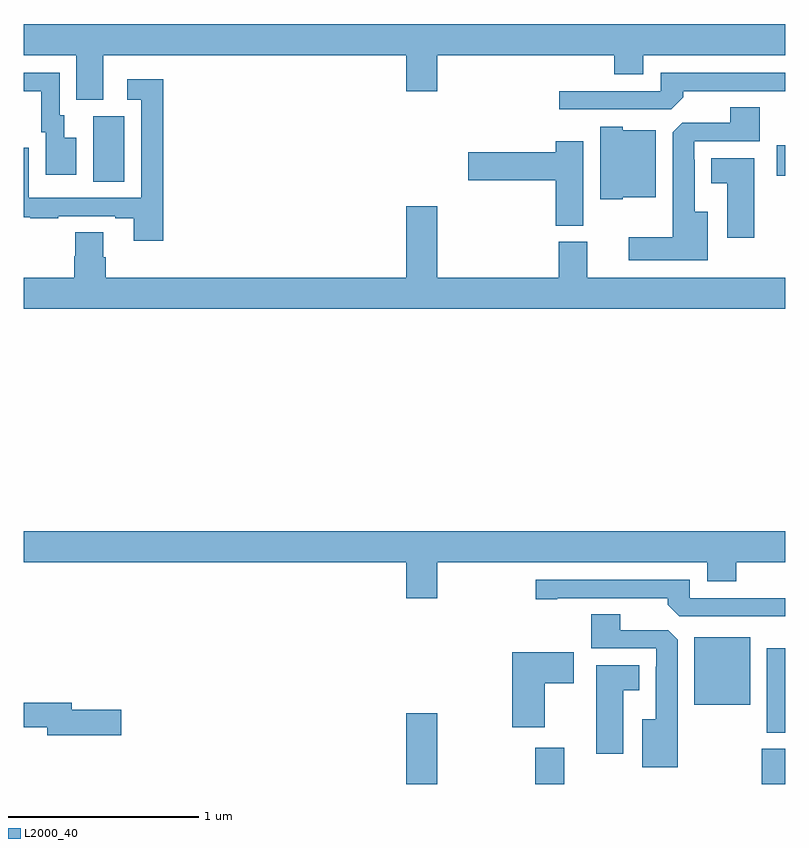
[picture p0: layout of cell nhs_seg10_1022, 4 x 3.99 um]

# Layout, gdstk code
import gdstk
lib = gdstk.Library(unit=1e-6, precision=1e-09)
def R(c, l, rs):  # rectangles x0, y0, x1, y1
    for r in rs: c.add(gdstk.rectangle(r[:2], r[2:], *l))
def P(c, l, *ps):  # polygons
    for p in ps: c.add(gdstk.Polygon(p, *l))
L2000_40 = (2000, 40)

nhs_seg10_1022 = lib.new_cell('nhs_seg10_1022')
R(nhs_seg10_1022, L2000_40, [(165.008,1284.5,165.172,1284.871), (165.686,1284.5,165.838,1284.691), (166.876,1284.5,167,1284.685), (166.904,1284.77,167,1285.213), (166.523,1284.917,166.816,1285.27), (163.364,1287.664,163.528,1288.008), (166.956,1287.694,167,1287.856)])
P(nhs_seg10_1022, L2000_40, [(163.417,1288.328),(165.008,1288.328),(165.008,1288.14),(165.172,1288.14),(165.172,1288.328),(166.103,1288.328),(166.103,1288.229),(166.255,1288.229),(166.255,1288.328),(167,1288.328),(167,1288.492),(163,1288.492),(163,1288.328),(163.277,1288.328),(163.277,1288.093),(163.417,1288.093)],
  [(163.276,1287.895),(163.213,1287.895),(163.213,1288.014),(163.188,1288.014),(163.188,1288.236),(163,1288.236),(163,1288.14),(163.091,1288.14),(163.091,1287.924),(163.115,1287.924),(163.115,1287.699),(163.276,1287.699)],
  [(166.463,1288.106),(166.463,1288.14),(167,1288.14),(167,1288.236),(166.347,1288.236),(166.347,1288.14),(165.813,1288.14),(165.813,1288.044),(166.401,1288.044)],
  [(163.733,1288.201),(163.545,1288.201),(163.545,1288.095),(163.617,1288.095),(163.617,1287.579),(163.026,1287.579),(163.026,1287.841),(163,1287.841),(163,1287.477),(163.033,1287.477),(163.033,1287.471),(163.181,1287.471),(163.181,1287.483),(163.481,1287.483),(163.481,1287.471),(163.577,1287.471),(163.577,1287.354),(163.733,1287.354)],
  [(166.594,1287.505),(166.525,1287.505),(166.525,1287.779),(166.521,1287.779),(166.521,1287.876),(166.865,1287.876),(166.865,1288.055),(166.712,1288.055),(166.712,1287.972),(166.458,1287.972),(166.409,1287.923),(166.409,1287.373),(166.179,1287.373),(166.179,1287.251),(166.594,1287.251)],
  [(166.146,1287.581),(166.321,1287.581),(166.321,1287.934),(166.146,1287.934),(166.146,1287.952),(166.028,1287.952),(166.028,1287.572),(166.146,1287.572)],
  [(165.94,1287.877),(165.794,1287.877),(165.794,1287.818),(165.336,1287.818),(165.336,1287.671),(165.794,1287.671),(165.794,1287.433),(165.94,1287.433)],
  [(166.837,1287.787),(166.61,1287.787),(166.61,1287.656),(166.694,1287.656),(166.694,1287.369),(166.837,1287.369)],
  [(167,1287.16),(165.961,1287.16),(165.961,1287.348),(165.809,1287.348),(165.809,1287.16),(165.172,1287.16),(165.172,1287.535),(165.008,1287.535),(165.008,1287.16),(163.43,1287.16),(163.43,1287.266),(163.417,1287.266),(163.417,1287.398),(163.27,1287.398),(163.27,1287.273),(163.265,1287.273),(163.265,1287.16),(163,1287.16),(163,1286.996),(167,1286.996)],
  [(165.172,1285.664),(166.589,1285.664),(166.589,1285.565),(166.742,1285.565),(166.742,1285.664),(167,1285.664),(167,1285.828),(163,1285.828),(163,1285.664),(165.008,1285.664),(165.008,1285.476),(165.172,1285.476)],
  [(167,1285.476),(166.497,1285.476),(166.497,1285.572),(165.69,1285.572),(165.69,1285.471),(165.802,1285.471),(165.802,1285.476),(166.382,1285.476),(166.382,1285.442),(166.443,1285.38),(167,1285.38)],
  [(166.435,1285.259),(166.386,1285.308),(166.132,1285.308),(166.132,1285.391),(165.98,1285.391),(165.98,1285.212),(166.323,1285.212),(166.323,1285.115),(166.319,1285.115),(166.319,1284.841),(166.25,1284.841),(166.25,1284.587),(166.435,1284.587)],
  [(165.736,1285.03),(165.889,1285.03),(165.889,1285.192),(165.566,1285.192),(165.566,1284.797),(165.736,1284.797)],
  [(166.15,1284.992),(166.234,1284.992),(166.234,1285.123),(166.007,1285.123),(166.007,1284.66),(166.15,1284.66)],
  [(163.513,1284.89),(163.252,1284.89),(163.252,1284.926),(163,1284.926),(163,1284.798),(163.124,1284.798),(163.124,1284.755),(163.513,1284.755)])

lib.write_gds('nhs_seg10_1022.gds')
